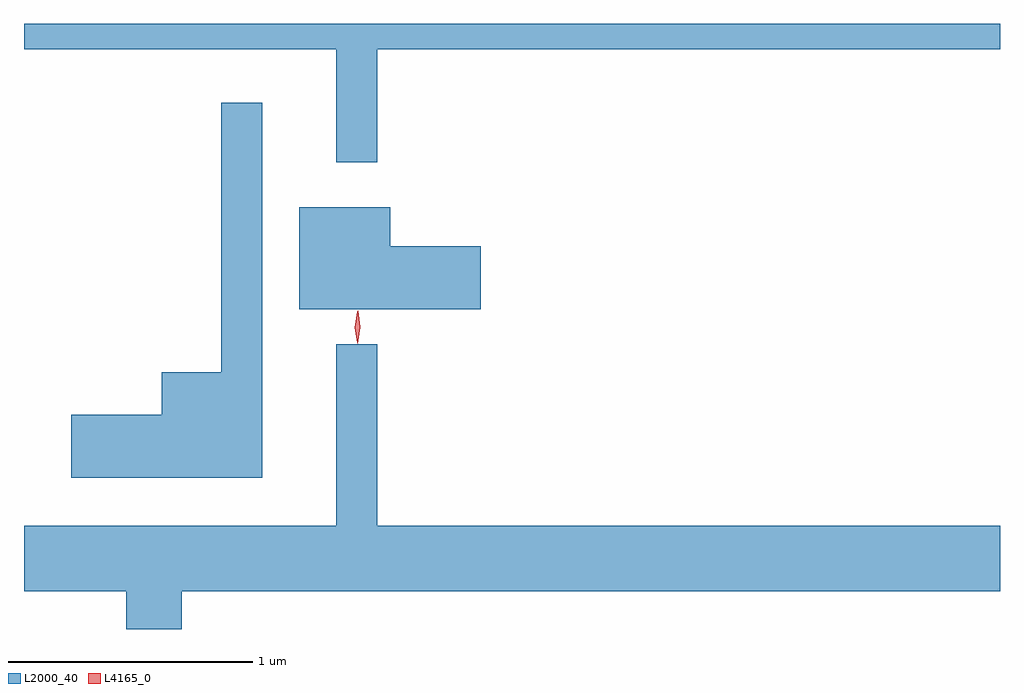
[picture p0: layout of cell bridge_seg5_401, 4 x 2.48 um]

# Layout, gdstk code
import gdstk
lib = gdstk.Library(unit=1e-6, precision=1e-09)
def P(c, l, *ps):  # polygons
    for p in ps: c.add(gdstk.Polygon(p, *l))
L2000_40 = (2000, 40)
L4165_0 = (4165, 0)

bridge_seg5_401 = lib.new_cell('bridge_seg5_401')
P(bridge_seg5_401, L2000_40, [(602.459,1530.056),(605.012,1530.056),(605.012,1530.162),(601.012,1530.162),(601.012,1530.056),(602.291,1530.056),(602.291,1529.593),(602.459,1529.593)],
  [(601.989,1529.838),(601.821,1529.838),(601.821,1528.734),(601.576,1528.734),(601.576,1528.559),(601.206,1528.559),(601.206,1528.301),(601.989,1528.301)],
  [(602.884,1529.249),(602.514,1529.249),(602.514,1529.409),(602.141,1529.409),(602.141,1528.991),(602.884,1528.991)],
  [(601.659,1527.836),(605.012,1527.836),(605.012,1528.104),(602.459,1528.104),(602.459,1528.848),(602.291,1528.848),(602.291,1528.104),(601.012,1528.104),(601.012,1527.836),(601.431,1527.836),(601.431,1527.679),(601.659,1527.679)])
P(bridge_seg5_401, L4165_0, [(602.377,1528.853),(602.377,1528.853),(602.367,1528.916),(602.377,1528.98),(602.377,1528.98),(602.378,1528.98),(602.387,1528.916),(602.378,1528.853)],
  [(602.379,1528.85),(602.379,1528.85),(602.37,1528.918),(602.38,1528.985),(602.381,1528.986),(602.381,1528.985),(602.39,1528.918),(602.38,1528.85)])

lib.write_gds('bridge_seg5_401.gds')
